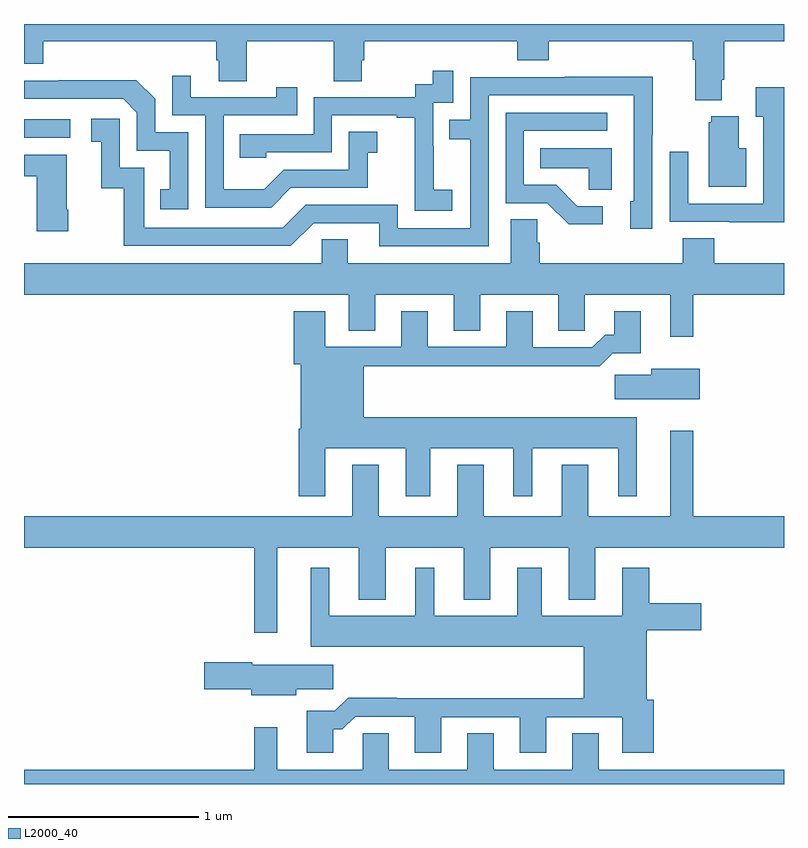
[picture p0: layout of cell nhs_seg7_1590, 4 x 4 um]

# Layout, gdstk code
import gdstk
lib = gdstk.Library(unit=1e-6, precision=1e-09)
def R(c, l, rs):  # rectangles x0, y0, x1, y1
    for r in rs: c.add(gdstk.rectangle(r[:2], r[2:], *l))
def P(c, l, *ps):  # polygons
    for p in ps: c.add(gdstk.Polygon(p, *l))
L2000_40 = (2000, 40)

nhs_seg7_1590 = lib.new_cell('nhs_seg7_1590')
R(nhs_seg7_1590, L2000_40, [(219,1041.402,219.244,1041.498)])
P(nhs_seg7_1590, L2000_40, [(222.673,1041.706),(222.686,1041.706),(222.686,1041.908),(223,1041.908),(223,1042),(219,1042),(219,1041.791),(219.101,1041.791),(219.101,1041.908),(220.013,1041.908),(220.013,1041.81),(220.025,1041.81),(220.025,1041.7),(220.173,1041.7),(220.173,1041.908),(220.63,1041.908),(220.63,1041.7),(220.777,1041.7),(220.777,1041.81),(220.79,1041.81),(220.79,1041.908),(221.597,1041.908),(221.597,1041.809),(221.762,1041.809),(221.762,1041.908),(222.521,1041.908),(222.521,1041.812),(222.533,1041.812),(222.533,1041.599),(222.673,1041.599)],
  [(221.254,1041.127),(221.156,1041.127),(221.156,1041.356),(221.154,1041.356),(221.154,1041.585),(221.259,1041.585),(221.259,1041.754),(221.151,1041.754),(221.151,1041.684),(221.058,1041.684),(221.058,1041.615),(220.524,1041.615),(220.524,1041.42),(220.135,1041.42),(220.135,1041.297),(220.275,1041.297),(220.275,1041.324),(220.62,1041.324),(220.62,1041.519),(220.961,1041.519),(220.961,1041.507),(221.057,1041.507),(221.057,1041.223),(221.056,1041.223),(221.056,1041.017),(221.254,1041.017)],
  [(220.405,1041.138),(220.809,1041.138),(220.809,1041.323),(220.858,1041.323),(220.858,1041.433),(220.71,1041.433),(220.71,1041.234),(220.368,1041.234),(220.264,1041.13),(220.05,1041.13),(220.05,1041.519),(220.439,1041.519),(220.439,1041.667),(220.328,1041.667),(220.328,1041.615),(219.877,1041.615),(219.877,1041.727),(219.78,1041.727),(219.78,1041.519),(219.954,1041.519),(219.954,1041.033),(220.3,1041.033)],
  [(221.445,1041.624),(222.21,1041.624),(222.21,1041.066),(222.191,1041.066),(222.191,1040.922),(222.306,1040.922),(222.306,1041.415),(222.309,1041.415),(222.309,1041.722),(221.845,1041.722),(221.845,1041.72),(221.349,1041.72),(221.349,1041.495),(221.239,1041.495),(221.239,1041.394),(221.349,1041.394),(221.349,1040.925),(220.968,1040.925),(220.968,1041.048),(220.482,1041.048),(220.362,1040.928),(219.633,1040.928),(219.633,1041.243),(219.504,1041.243),(219.504,1041.502),(219.354,1041.502),(219.354,1041.381),(219.407,1041.381),(219.407,1041.135),(219.525,1041.135),(219.525,1040.832),(220.404,1040.832),(220.524,1040.952),(220.871,1040.952),(220.871,1040.829),(221.445,1040.829)],
  [(219.864,1041.429),(219.69,1041.429),(219.69,1041.606),(219.592,1041.704),(219.184,1041.704),(219.184,1041.702),(219,1041.702),(219,1041.606),(219.522,1041.606),(219.594,1041.534),(219.594,1041.333),(219.767,1041.333),(219.767,1041.129),(219.718,1041.129),(219.718,1041.024),(219.864,1041.024)],
  [(223,1041.667),(222.851,1041.667),(222.851,1041.511),(222.891,1041.511),(222.891,1041.054),(222.495,1041.054),(222.495,1041.328),(222.399,1041.328),(222.399,1040.958),(222.715,1040.958),(222.715,1040.957),(223,1040.957)],
  [(222.046,1041.042),(221.911,1041.042),(221.8,1041.153),(221.631,1041.153),(221.631,1041.438),(222.07,1041.438),(222.07,1041.534),(221.535,1041.534),(221.535,1041.057),(221.754,1041.057),(221.867,1040.945),(222.046,1040.945)],
  [(222.802,1041.346),(222.763,1041.346),(222.763,1041.514),(222.617,1041.514),(222.617,1041.483),(222.605,1041.483),(222.605,1041.143),(222.802,1041.143)],
  [(222.094,1041.346),(221.716,1041.346),(221.716,1041.242),(221.973,1041.242),(221.973,1041.127),(222.094,1041.127)],
  [(219.234,1041.022),(219.226,1041.022),(219.226,1041.313),(219,1041.313),(219,1041.199),(219.068,1041.199),(219.068,1040.91),(219.234,1040.91)],
  [(222.523,1040.576),(223,1040.576),(223,1040.74),(222.632,1040.74),(222.632,1040.873),(222.467,1040.873),(222.467,1040.74),(221.714,1040.74),(221.714,1040.849),(221.7,1040.849),(221.7,1040.972),(221.561,1040.972),(221.561,1040.74),(220.705,1040.74),(220.705,1040.867),(220.566,1040.867),(220.566,1040.74),(219,1040.74),(219,1040.576),(220.709,1040.576),(220.709,1040.386),(220.849,1040.386),(220.849,1040.576),(221.261,1040.576),(221.261,1040.386),(221.401,1040.386),(221.401,1040.576),(221.813,1040.576),(221.813,1040.386),(221.952,1040.386),(221.952,1040.576),(222.401,1040.576),(222.401,1040.355),(222.523,1040.355)],
  [(220.585,1039.766),(221.009,1039.766),(221.009,1039.515),(221.137,1039.515),(221.137,1039.766),(221.576,1039.766),(221.576,1039.515),(221.674,1039.515),(221.674,1039.766),(222.128,1039.766),(222.128,1039.515),(222.226,1039.515),(222.226,1039.93),(220.789,1039.93),(220.789,1040.2),(221.773,1040.2),(221.773,1040.198),(222.029,1040.198),(222.098,1040.267),(222.247,1040.267),(222.247,1040.488),(222.107,1040.488),(222.107,1040.365),(222.058,1040.365),(221.991,1040.298),(221.677,1040.298),(221.677,1040.488),(221.537,1040.488),(221.537,1040.301),(221.125,1040.301),(221.125,1040.488),(220.985,1040.488),(220.985,1040.301),(220.585,1040.301),(220.585,1040.488),(220.421,1040.488),(220.421,1040.208),(220.457,1040.208),(220.457,1039.87),(220.445,1039.87),(220.445,1039.515),(220.585,1039.515)],
  [(222.556,1040.185),(222.302,1040.185),(222.302,1040.153),(222.108,1040.153),(222.108,1040.024),(222.556,1040.024)],
  [(221.419,1039.681),(221.279,1039.681),(221.279,1039.408),(220.867,1039.408),(220.867,1039.681),(220.727,1039.681),(220.727,1039.408),(219,1039.408),(219,1039.244),(220.212,1039.244),(220.212,1038.795),(220.333,1038.795),(220.333,1039.244),(220.763,1039.244),(220.763,1038.971),(220.903,1038.971),(220.903,1039.244),(221.315,1039.244),(221.315,1038.971),(221.455,1038.971),(221.455,1039.244),(221.867,1039.244),(221.867,1038.971),(222.007,1038.971),(222.007,1039.244),(223,1039.244),(223,1039.408),(222.523,1039.408),(222.523,1039.858),(222.401,1039.858),(222.401,1039.408),(221.971,1039.408),(221.971,1039.681),(221.831,1039.681),(221.831,1039.408),(221.419,1039.408)],
  [(220.627,1038.287),(220.676,1038.287),(220.743,1038.354),(221.057,1038.354),(221.057,1038.165),(221.197,1038.165),(221.197,1038.351),(221.609,1038.351),(221.609,1038.165),(221.749,1038.165),(221.749,1038.351),(222.149,1038.351),(222.149,1038.165),(222.314,1038.165),(222.314,1038.444),(222.277,1038.444),(222.277,1038.809),(222.565,1038.809),(222.565,1038.951),(222.29,1038.951),(222.29,1039.138),(222.149,1039.138),(222.149,1038.886),(221.725,1038.886),(221.725,1039.138),(221.597,1039.138),(221.597,1038.886),(221.158,1038.886),(221.158,1039.138),(221.06,1039.138),(221.06,1038.886),(220.606,1038.886),(220.606,1039.138),(220.508,1039.138),(220.508,1038.722),(221.945,1038.722),(221.945,1038.452),(220.961,1038.452),(220.961,1038.455),(220.706,1038.455),(220.636,1038.385),(220.487,1038.385),(220.487,1038.165),(220.627,1038.165)],
  [(220.432,1038.499),(220.627,1038.499),(220.627,1038.628),(220.2,1038.628),(220.2,1038.641),(219.948,1038.641),(219.948,1038.499),(220.196,1038.499),(220.196,1038.467),(220.432,1038.467)],
  [(223,1038.076),(222.025,1038.076),(222.025,1038.266),(221.885,1038.266),(221.885,1038.076),(221.473,1038.076),(221.473,1038.266),(221.333,1038.266),(221.333,1038.076),(220.921,1038.076),(220.921,1038.266),(220.782,1038.266),(220.782,1038.076),(220.333,1038.076),(220.333,1038.298),(220.212,1038.298),(220.212,1038.076),(219,1038.076),(219,1038),(223,1038)])

lib.write_gds('nhs_seg7_1590.gds')
